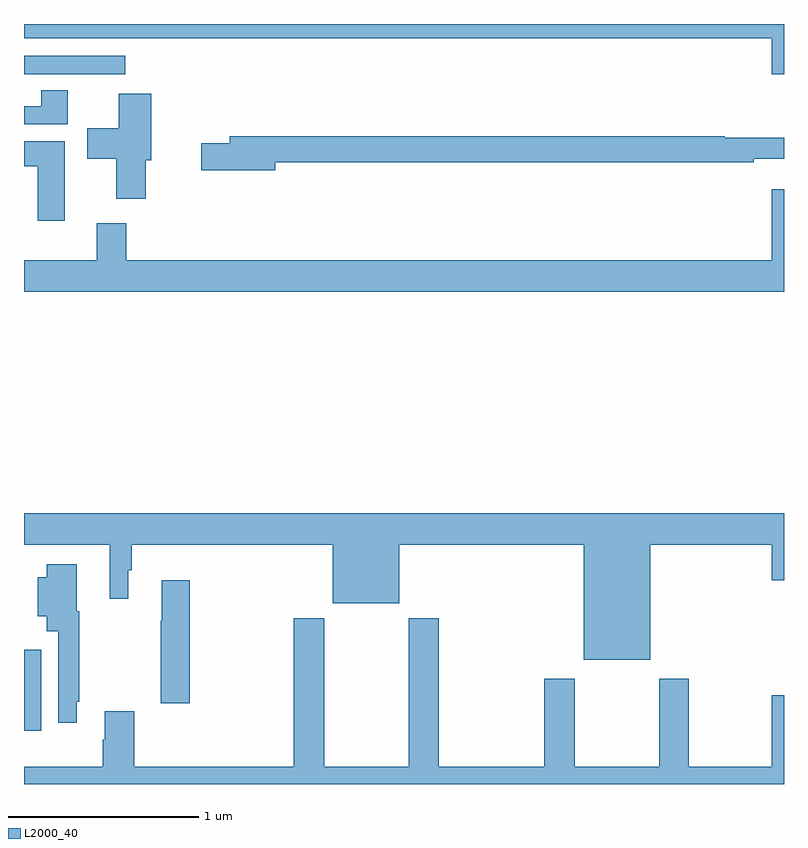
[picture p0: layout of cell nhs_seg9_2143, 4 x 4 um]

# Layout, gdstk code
import gdstk
lib = gdstk.Library(unit=1e-6, precision=1e-09)
def R(c, l, rs):  # rectangles x0, y0, x1, y1
    for r in rs: c.add(gdstk.rectangle(r[:2], r[2:], *l))
def P(c, l, *ps):  # polygons
    for p in ps: c.add(gdstk.Polygon(p, *l))
L2000_40 = (2000, 40)

nhs_seg9_2143 = lib.new_cell('nhs_seg9_2143')
R(nhs_seg9_2143, L2000_40, [(233,1188.78,233.091,1189.207), (233,1192.236,233.533,1192.332)])
P(nhs_seg9_2143, L2000_40, [(237,1192.5),(233,1192.5),(233,1192.424),(236.936,1192.424),(236.936,1192.236),(237,1192.236)],
  [(233.23,1192.151),(233.09,1192.151),(233.09,1192.068),(233,1192.068),(233,1191.972),(233.23,1191.972)],
  [(233.641,1191.783),(233.669,1191.783),(233.669,1192.132),(233.498,1192.132),(233.498,1191.952),(233.334,1191.952),(233.334,1191.79),(233.486,1191.79),(233.486,1191.579),(233.641,1191.579)],
  [(234.322,1191.772),(236.84,1191.772),(236.84,1191.791),(237,1191.791),(237,1191.901),(236.687,1191.901),(236.687,1191.908),(234.083,1191.908),(234.083,1191.872),(233.934,1191.872),(233.934,1191.73),(234.322,1191.73)],
  [(233.215,1191.883),(233,1191.883),(233,1191.752),(233.072,1191.752),(233.072,1191.465),(233.215,1191.465)],
  [(237,1191.631),(236.936,1191.631),(236.936,1191.256),(233.537,1191.256),(233.537,1191.451),(233.384,1191.451),(233.384,1191.256),(233,1191.256),(233,1191.092),(237,1191.092)],
  [(236.296,1189.76),(236.936,1189.76),(236.936,1189.572),(237,1189.572),(237,1189.924),(233,1189.924),(233,1189.76),(233.45,1189.76),(233.45,1189.476),(233.548,1189.476),(233.548,1189.626),(233.567,1189.626),(233.567,1189.76),(234.626,1189.76),(234.626,1189.451),(234.976,1189.451),(234.976,1189.76),(235.946,1189.76),(235.946,1189.154),(236.296,1189.154)],
  [(233.278,1188.934),(233.29,1188.934),(233.29,1189.408),(233.278,1189.408),(233.278,1189.657),(233.12,1189.657),(233.12,1189.588),(233.072,1189.588),(233.072,1189.382),(233.12,1189.382),(233.12,1189.304),(233.181,1189.304),(233.181,1188.822),(233.278,1188.822)],
  [(233.873,1189.573),(233.726,1189.573),(233.726,1189.36),(233.719,1189.36),(233.719,1188.924),(233.873,1188.924)],
  [(237,1188.967),(236.936,1188.967),(236.936,1188.592),(236.499,1188.592),(236.499,1189.054),(236.344,1189.054),(236.344,1188.592),(235.899,1188.592),(235.899,1189.054),(235.739,1189.054),(235.739,1188.592),(235.184,1188.592),(235.184,1189.372),(235.024,1189.372),(235.024,1188.592),(234.579,1188.592),(234.579,1189.372),(234.419,1189.372),(234.419,1188.592),(233.579,1188.592),(233.579,1188.883),(233.426,1188.883),(233.426,1188.734),(233.414,1188.734),(233.414,1188.592),(233,1188.592),(233,1188.5),(237,1188.5)])

lib.write_gds('nhs_seg9_2143.gds')
